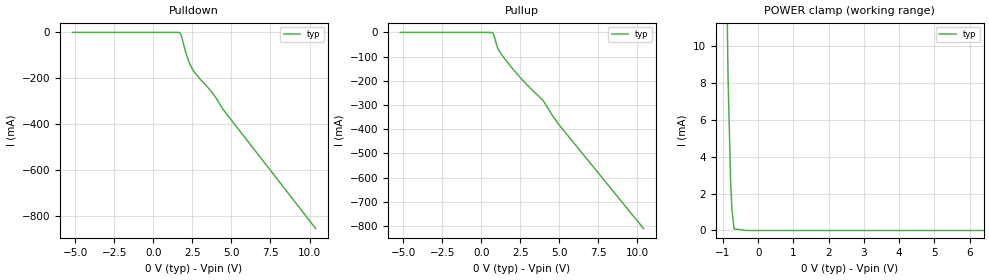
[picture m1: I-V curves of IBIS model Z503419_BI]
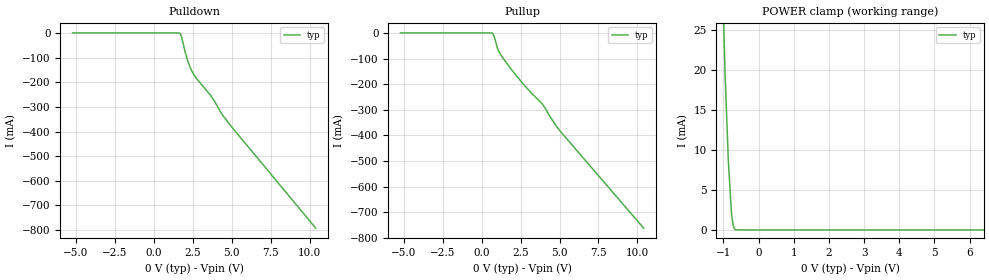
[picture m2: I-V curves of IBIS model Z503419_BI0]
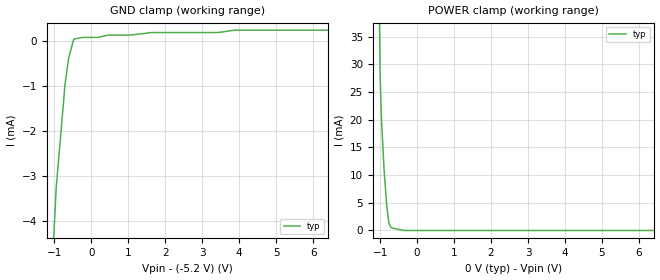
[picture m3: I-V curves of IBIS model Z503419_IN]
| YOU ARE ONLY AUTHORIZED TO USE THIS SOFTWARE
| ACCORDING TO LICENSOR'S LICENSE RESTRICTIONS.
[IBIS Ver] 3.1
[File Name] mc10e211fn.ibs
[File Rev] 2.0
[Source] Measured and created by ICX Technology
[Date] Friday 7/14/00 9:07:49 AM
[Copyright]
| (C) COPYRIGHT 1993-2000
| MENTOR GRAPHICS CORPORATION
| ICX STANDARD LIBRARY, ICX PROJECT MODELING,
| ICX CUSTOM MODELING, ICX VENDOR MODEL
| ALL RIGHTS RESERVED.
| THE FOLLOWING ARE TRADEMARKS OR SERVICE MARKS OF
| MENTOR GRAPHICS CORPORATION:ICX (R), ICX STANDARD
| LIBRARY(R), ICX PROJECT MODELING(R), ICX CUSTOM
| MODELING(R), qualityIBIS(TM), MODELVIEWER(TM),
| AND MODELEDITOR(TM)
| ALL COPIES OF SOFTWARE, INCLUDING BUT NOT LIMITED TO
| ANY MODIFICATIONS, ENHANCEMENTS OR DERIVATIVE WORKS,
| MUST CONTAIN ALL MENTOR GRAPHICS CORPORATION'S
| NOTICES AND LEGENDS, INCLUDING THOSE EMBEDDED IN
| SOFTWARE AND THOSE AFFIXED TO SOFTWARE MEDIUM
| AND CONTAINER, AS RECEIVED FROM MENTOR GRAPHICS
| CORPORATION.
|  ZAP Model Builder 2.7
[Component] MC10E211FN
[Manufacturer] OnSemiconductor
[Package]
| variable   typ   min   max
R_pkg  .083ohms NA NA
L_pkg  4.299nH NA NA
C_pkg  1.045pF NA NA
[Pin] signal_name  model_name  R_pin  L_pin C_pin
1 VEE POWER .08 3.94n .925p
2 CLK Z503419_IN0 .082 4.14n .995p
3 _CLK Z503419_IN0 .084 4.354n 1.065p
4 VBB NC .086 4.583n 1.135p
5 _CEN Z503419_IN1 .086 4.583n 1.135p
6 _EN2 Z503419_IN .084 4.354n 1.065p
7 _EN1 Z503419_IN .082 4.14n .995p
8 _EN0 Z503419_IN .08 3.94n .925p
9 VCC0 GND .082 4.14n .995p
10 Q0 Z503419_BI .084 4.354n 1.065p
11 _Q0 Z503419_BI0 .086 4.583n 1.135p
12 Q1 Z503419_BI .086 4.583n 1.135p
13 _Q1 Z503419_BI0 .084 4.354n 1.065p
14 Q2 Z503419_BI .082 4.14n .995p
15 _Q2 Z503419_BI0 .08 3.94n .925p
16 VCC GND .082 4.14n .995p
17 Q3 Z503419_BI .084 4.354n 1.065p
18 _Q3 Z503419_BI0 .086 4.583n 1.135p
19 Q4 Z503419_BI .086 4.583n 1.135p
20 _Q4 Z503419_BI0 .084 4.354n 1.065p
21 Q5 Z503419_BI .082 4.14n .995p
22 _Q5 Z503419_BI0 .08 3.94n .925p
23 VCC0 GND .082 4.14n .995p
24 _EN5 Z503419_IN .084 4.354n 1.065p
25 _EN4 Z503419_IN .086 4.583n 1.135p
26 _EN3 Z503419_IN .086 4.583n 1.135p
27 SEL Z503419_IN2 .084 4.354n 1.065p
28 SCLK Z503419_IN3 .082 4.14n .995p
| Models and submodels in the file (7): Z503419_BI (I/O_ECL), Z503419_BI0 (I/O_ECL), Z503419_IN (Input_ECL), Z503419_IN0 (Input_ECL), Z503419_IN1 (Input_ECL), Z503419_IN2 (Input_ECL), Z503419_IN3 (Input_ECL)
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| (C) COPYRIGHT 1993-2000
| MENTOR GRAPHICS CORPORATION
| ICX STANDARD LIBRARY, ICX PROJECT MODELING,
| ICX CUSTOM MODELING, ICX VENDOR MODEL
| ALL RIGHTS RESERVED.
| THE FOLLOWING ARE TRADEMARKS OR SERVICE MARKS OF
| MENTOR GRAPHICS CORPORATION:ICX (R), ICX STANDARD
| LIBRARY(R), ICX PROJECT MODELING(R), ICX CUSTOM
| MODELING(R), qualityIBIS(TM), MODELVIEWER(TM),
| AND MODELEDITOR(TM)
| ALL COPIES OF SOFTWARE, INCLUDING BUT NOT LIMITED TO
| ANY MODIFICATIONS, ENHANCEMENTS OR DERIVATIVE WORKS,
| MUST CONTAIN ALL MENTOR GRAPHICS CORPORATION'S
| NOTICES AND LEGENDS, INCLUDING THOSE EMBEDDED IN
| SOFTWARE AND THOSE AFFIXED TO SOFTWARE MEDIUM
| AND CONTAINER, AS RECEIVED FROM MENTOR GRAPHICS
| CORPORATION.
| Model Application Version 1.89 2/18/99.
[Model] Z503419_BI
Model_type I/O_ECL
Vinl=-1.480V
Vinh=-1.130V
Vref=-2.000V
Rref=50.00ohms
Cref=0.000F
Vmeas=-1.305V
C_comp 8.000pF NA NA
| variable typ   min   max
[Voltage Range] -5.200V NA NA
[POWER Clamp Reference] 0.000V NA NA
[Pullup Reference] 0.000V NA NA
[Pulldown Reference] 0.000V NA NA
[GND Clamp Reference] -5.200V NA NA
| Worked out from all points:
|   POWER clamp passes 1 mA (typ) near -0.74 V on its own axis
[GND Clamp]
-5.2V     0A         NA         NA
10.4V     0A         NA         NA
[Pulldown]
-5.2V     227.2uA    NA         NA
1.567V    152.9uA    NA         NA
1.704V    -2.581mA   NA         NA
1.792V    -14.85mA   NA         NA
2.051V    -83.06mA   NA         NA
2.15V     -104.6mA   NA         NA
2.335V    -137.4mA   NA         NA
2.632V    -174mA     NA         NA
3.813V    -266.9mA   NA         NA
4.013V    -285.6mA   NA         NA
4.4V      -330mA     NA         NA
10.4V     -855.1mA   NA         NA
[Pullup]
-5.2V     175.1uA    NA         NA
610.3mV   78.95uA    NA         NA
727.8mV   -2.604mA   NA         NA
830.1mV   -17.3mA    NA         NA
1.036V    -63.03mA   NA         NA
1.377V    -98.7mA    NA         NA
2.609V    -194.9mA   NA         NA
3.955V    -280.7mA   NA         NA
4.544V    -342.1mA   NA         NA
4.924V    -377.2mA   NA         NA
10.4V     -810.6mA   NA         NA
[POWER Clamp]
-5.2V     1.516A     NA         NA
-1.333V   157.6mA    NA         NA
-1.153V   85.95mA    NA         NA
-1.06V    40.82mA    NA         NA
-1.016V   29.57mA    NA         NA
-857.5mV  8.318mA    NA         NA
-785.2mV  2.698mA    NA         NA
-747.2mV  1.116mA    NA         NA
-685.4mV  85.5uA     NA         NA
-342.7mV  0A         NA         NA
10.4V     0A         NA         NA
[Ramp]
| variable typ min max
dV/dt_r 527.3m/1.318n NA NA
dV/dt_f 527.3m/892.0p NA NA
R_load = 50.00Ohms
| (C) COPYRIGHT 1993-2000
| MENTOR GRAPHICS CORPORATION
| ICX STANDARD LIBRARY, ICX PROJECT MODELING,
| ICX CUSTOM MODELING, ICX VENDOR MODEL
| ALL RIGHTS RESERVED.
| THE FOLLOWING ARE TRADEMARKS OR SERVICE MARKS OF
| MENTOR GRAPHICS CORPORATION:ICX (R), ICX STANDARD
| LIBRARY(R), ICX PROJECT MODELING(R), ICX CUSTOM
| MODELING(R), qualityIBIS(TM), MODELVIEWER(TM),
| AND MODELEDITOR(TM)
| ALL COPIES OF SOFTWARE, INCLUDING BUT NOT LIMITED TO
| ANY MODIFICATIONS, ENHANCEMENTS OR DERIVATIVE WORKS,
| MUST CONTAIN ALL MENTOR GRAPHICS CORPORATION'S
| NOTICES AND LEGENDS, INCLUDING THOSE EMBEDDED IN
| SOFTWARE AND THOSE AFFIXED TO SOFTWARE MEDIUM
| AND CONTAINER, AS RECEIVED FROM MENTOR GRAPHICS
| CORPORATION.
| Model Application Version 1.89 2/18/99.
[Model] Z503419_BI0
Model_type I/O_ECL
Vinl=-1.480V
Vinh=-1.130V
Vref=-2.000V
Rref=50.00ohms
Cref=0.000F
Vmeas=-1.305V
C_comp 8.000pF NA NA
| variable typ   min   max
[Voltage Range] -5.200V NA NA
[POWER Clamp Reference] 0.000V NA NA
[Pullup Reference] 0.000V NA NA
[Pulldown Reference] 0.000V NA NA
[GND Clamp Reference] -5.200V NA NA
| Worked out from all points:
|   POWER clamp passes 1 mA (typ) near -0.73 V on its own axis
[GND Clamp]
-5.2V     0A         NA         NA
10.4V     0A         NA         NA
[Pulldown]
-5.2V     228.3uA    NA         NA
1.704V    -3.049mA   NA         NA
1.806V    -19.72mA   NA         NA
2.004V    -73.31mA   NA         NA
2.148V    -106mA     NA         NA
2.349V    -140.9mA   NA         NA
2.632V    -174.2mA   NA         NA
3.612V    -249.8mA   NA         NA
3.901V    -276.4mA   NA         NA
4.341V    -326.1mA   NA         NA
4.926V    -375.3mA   NA         NA
10.4V     -792mA     NA         NA
[Pullup]
-5.2V     173.2uA    NA         NA
590.4mV   106.9uA    NA         NA
727.7mV   -2.649mA   NA         NA
829.9mV   -17.62mA   NA         NA
1.035V    -63.14mA   NA         NA
1.143V    -76.65mA   NA         NA
1.909V    -142.6mA   NA         NA
2.609V    -194.9mA   NA         NA
3.882V    -275.9mA   NA         NA
4.346V    -322.2mA   NA         NA
5.02V     -381.8mA   NA         NA
10.4V     -762.2mA   NA         NA
[POWER Clamp]
-5.2V     1.528A     NA         NA
-1.016V   29.84mA    NA         NA
-947.3mV  19.09mA    NA         NA
-857.3mV  8.603mA    NA         NA
-766.6mV  1.981mA    NA         NA
-722.9mV  656.2uA    NA         NA
-685.3mV  106.3uA    NA         NA
-646mV    17.4uA     NA         NA
10.4V     0A         NA         NA
[Ramp]
| variable typ min max
dV/dt_r 523.7m/1.612n NA NA
dV/dt_f 523.7m/983.1p NA NA
R_load = 50.00Ohms
| (C) COPYRIGHT 1993-2000
| MENTOR GRAPHICS CORPORATION
| ICX STANDARD LIBRARY, ICX PROJECT MODELING,
| ICX CUSTOM MODELING, ICX VENDOR MODEL
| ALL RIGHTS RESERVED.
| THE FOLLOWING ARE TRADEMARKS OR SERVICE MARKS OF
| MENTOR GRAPHICS CORPORATION:ICX (R), ICX STANDARD
| LIBRARY(R), ICX PROJECT MODELING(R), ICX CUSTOM
| MODELING(R), qualityIBIS(TM), MODELVIEWER(TM),
| AND MODELEDITOR(TM)
| ALL COPIES OF SOFTWARE, INCLUDING BUT NOT LIMITED TO
| ANY MODIFICATIONS, ENHANCEMENTS OR DERIVATIVE WORKS,
| MUST CONTAIN ALL MENTOR GRAPHICS CORPORATION'S
| NOTICES AND LEGENDS, INCLUDING THOSE EMBEDDED IN
| SOFTWARE AND THOSE AFFIXED TO SOFTWARE MEDIUM
| AND CONTAINER, AS RECEIVED FROM MENTOR GRAPHICS
| CORPORATION.
| Model Application Version 1.89 2/18/99.
[Model] Z503419_IN
Model_type Input_ECL
Vinl = -1.480V
Vinh = -1.130V
C_comp 4.000pF NA NA
| variable typ   min   max
[Voltage Range] -5.200V NA NA
[GND Clamp Reference] -5.200V NA NA
[POWER Clamp Reference] 0.000V NA NA
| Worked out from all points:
|   GND clamp passes 1 mA (typ) near -0.71 V on its own axis
|   POWER clamp passes 1 mA (typ) near -0.74 V on its own axis
[GND Clamp]
-5.2V     -133.9mA   NA         NA
-1.03V    -4.588mA   NA         NA
-947mV    -3.243mA   NA         NA
-713mV    -981.9uA   NA         NA
-615mV    -377.3uA   NA         NA
-474mV    52.11uA    NA         NA
461mV     142uA      NA         NA
1.051V    142uA      NA         NA
1.64V     198.6uA    NA         NA
3.429V    198.6uA    NA         NA
3.876V    251.6uA    NA         NA
10.4V     251.6uA    NA         NA
[POWER Clamp]
-5.2V     1.417A     NA         NA
-1.069V   67.42mA    NA         NA
-998.5mV  27.75mA    NA         NA
-966.8mV  20.52mA    NA         NA
-893.5mV  11.08mA    NA         NA
-821.2mV  4.481mA    NA         NA
-766.9mV  1.541mA    NA         NA
-747.4mV  1.05mA     NA         NA
-685.2mV  454.7uA    NA         NA
-342.6mV  0A         NA         NA
10.4V     0A         NA         NA
